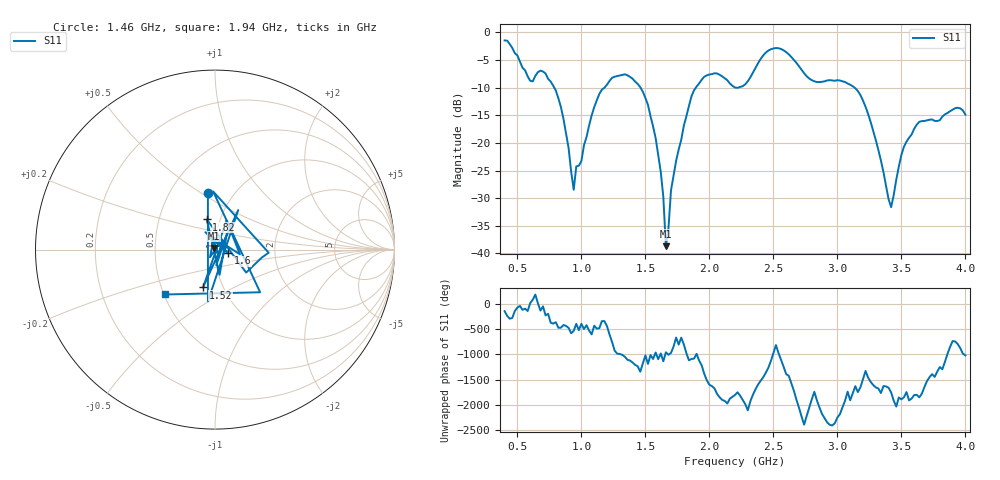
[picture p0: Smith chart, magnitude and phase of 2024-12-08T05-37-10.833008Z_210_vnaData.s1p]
!Created with skrf (http://scikit-rf.org).
# Hz S RI R 50.0
!freq ReS11 ImS11
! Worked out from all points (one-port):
!   181 points, 400 MHz to 4 GHz, reference 50 ohm
!   lowest |S11| = -38.7 dB at 1.66 GHz (marker M1), VSWR 1.02, Z = 49.4 + j0.968 ohm
!   |S11| at or under -10 dB: 788.3 MHz to 1.18 GHz (392.1 MHz wide, 39.8 % of centre); 1.463 GHz to 1.894 GHz (431.1 MHz wide, 25.7 % of centre); 3.135 GHz to end of sweep (the widest 3 of 4)
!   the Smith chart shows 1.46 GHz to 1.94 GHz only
!   S11 on the Smith chart (normalised r, x): 1.46 GHz: 0.76, +0.54; 1.52 GHz: 0.80, -0.36; 1.6 GHz: 1.16, -0.05; 1.82 GHz: 0.86, +0.30; 1.94 GHz: 0.51, -0.30
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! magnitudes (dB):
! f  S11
! 400 MHz  -1.4
! 600 MHz  -8.8
! 720 MHz  -7.4
! 860 MHz  -15.6
! 940 MHz  -28.5
! 960 MHz  -24.2
! 1.14 GHz  -11.1
! 1.3 GHz  -7.8
! 1.46 GHz  -9.9
! 1.52 GHz  -13.1
! 1.6 GHz  -22.2
! 1.64 GHz  -29.8
! 1.66 GHz  -38.7
! 1.7 GHz  -28.6
! 1.76 GHz  -21.2
! 1.82 GHz  -15.2
! 1.94 GHz  -8.5
! 2.2 GHz  -10.0
! 2.48 GHz  -3.0
! 2.66 GHz  -5.0
! 2.82 GHz  -8.8
! 3.1 GHz  -9.5
! 3.24 GHz  -14.8
! 3.42 GHz  -31.6
! 3.5 GHz  -22.2
! 3.56 GHz  -19.1
! 3.64 GHz  -16.2
! 4 GHz  -14.9
